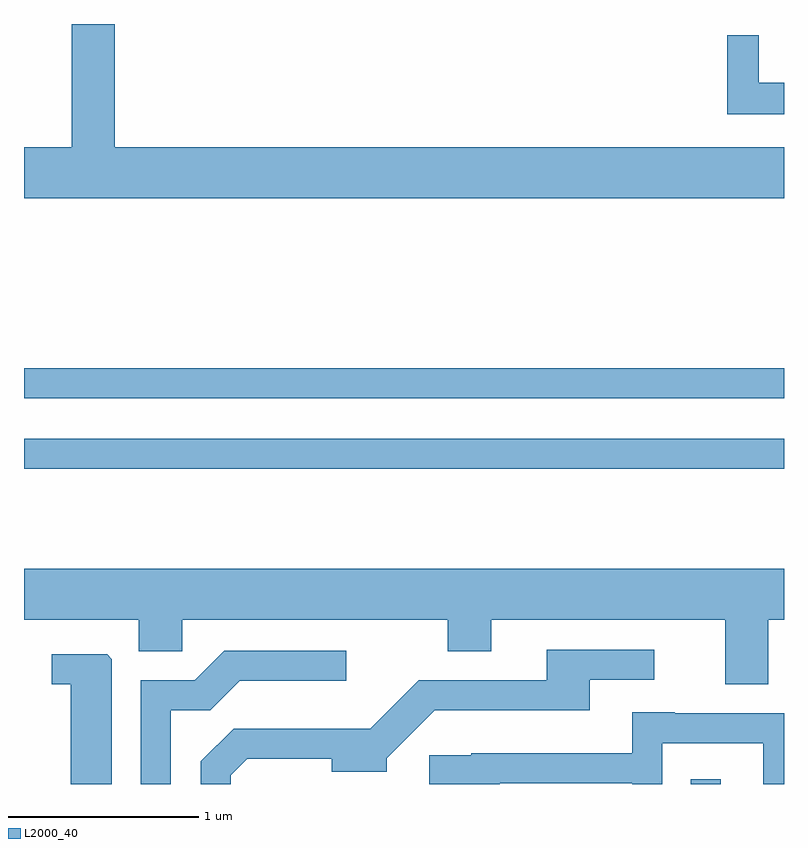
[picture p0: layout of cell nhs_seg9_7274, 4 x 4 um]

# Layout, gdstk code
import gdstk
lib = gdstk.Library(unit=1e-6, precision=1e-09)
def R(c, l, rs):  # rectangles x0, y0, x1, y1
    for r in rs: c.add(gdstk.rectangle(r[:2], r[2:], *l))
def P(c, l, *ps):  # polygons
    for p in ps: c.add(gdstk.Polygon(p, *l))
L2000_40 = (2000, 40)

nhs_seg9_7274 = lib.new_cell('nhs_seg9_7274')
R(nhs_seg9_7274, L2000_40, [(403.121,2066.432,403.279,2066.458), (399.611,2068.091,403.611,2068.249), (399.611,2068.461,403.611,2068.619)])
P(nhs_seg9_7274, L2000_40, [(403.611,2069.784),(400.089,2069.784),(400.089,2070.432),(399.861,2070.432),(399.861,2069.784),(399.611,2069.784),(399.611,2069.516),(403.611,2069.516)],
  [(403.611,2070.124),(403.479,2070.124),(403.479,2070.373),(403.311,2070.373),(403.311,2069.956),(403.611,2069.956)],
  [(403.529,2067.296),(403.611,2067.296),(403.611,2067.564),(399.611,2067.564),(399.611,2067.296),(400.216,2067.296),(400.216,2067.131),(400.444,2067.131),(400.444,2067.296),(401.841,2067.296),(401.841,2067.131),(402.069,2067.131),(402.069,2067.296),(403.301,2067.296),(403.301,2066.956),(403.529,2066.956)],
  [(400.699,2066.479),(400.787,2066.566),(401.231,2066.566),(401.231,2066.496),(401.519,2066.496),(401.519,2066.568),(401.772,2066.821),(402.589,2066.821),(402.589,2066.981),(402.928,2066.981),(402.928,2067.139),(402.361,2067.139),(402.361,2066.979),(401.689,2066.979),(401.434,2066.724),(400.714,2066.724),(400.541,2066.552),(400.541,2066.432),(400.699,2066.432)],
  [(400.384,2066.821),(400.592,2066.821),(400.747,2066.976),(401.308,2066.976),(401.308,2067.134),(400.664,2067.134),(400.509,2066.979),(400.226,2066.979),(400.226,2066.432),(400.384,2066.432)],
  [(400.074,2067.088),(400.049,2067.114),(399.758,2067.114),(399.758,2066.956),(399.856,2066.956),(399.856,2066.432),(400.074,2066.432)],
  [(402.115,2066.436),(402.811,2066.436),(402.811,2066.432),(402.969,2066.432),(402.969,2066.646),(403.501,2066.646),(403.501,2066.432),(403.611,2066.432),(403.611,2066.804),(403.035,2066.804),(403.035,2066.809),(402.811,2066.809),(402.811,2066.594),(401.965,2066.594),(401.965,2066.584),(401.743,2066.584),(401.743,2066.432),(402.115,2066.432)])

lib.write_gds('nhs_seg9_7274.gds')
